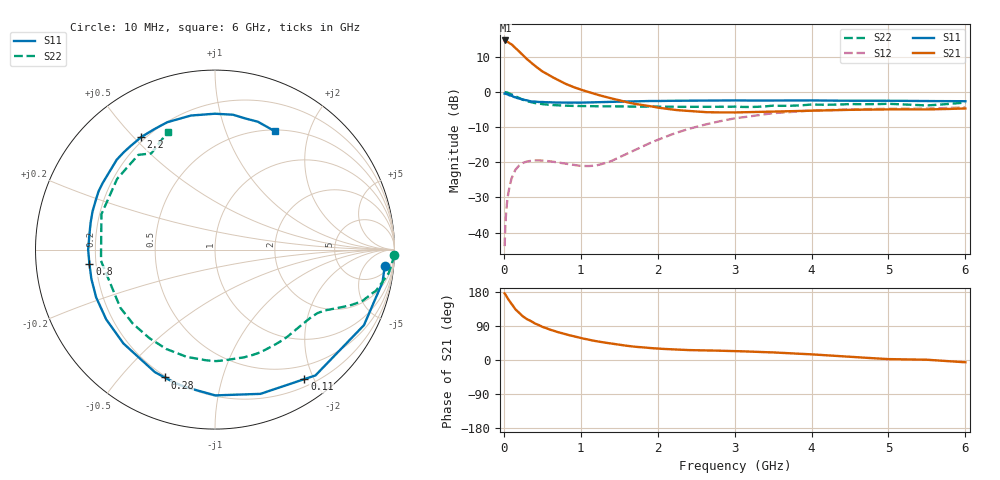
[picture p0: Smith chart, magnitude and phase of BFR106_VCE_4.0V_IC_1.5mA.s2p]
! Infineon Technologies  Discrete & RF Semiconductors
! BFR106
! VCE =  4.0 V,  IC =  1.5 mA
! Common Emitter S-Parameters:  Nov 2015
# GHz  S  MA  R  50
!  f  S11  S21  S12  S22
! GHz  MAG  ANG  MAG  ANG  MAG  ANG  MAG  ANG
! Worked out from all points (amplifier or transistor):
!   210 points, 10 MHz to 6 GHz, reference 50 ohm
!   highest |S21| = 14.7 dB at 20 MHz (marker M1)
!   |S21| within 3 dB of that: start of sweep to 192.2 MHz
!   unconditionally stable (mu >= 1): 809.4 MHz to 1.878 GHz; 3.193 GHz to end of sweep
!   at 185 MHz: K = 0.22, MSG = 16.5 dB, |S12| = -21.3 dB
!   at 1.52 GHz: K = 1.23, MAG = 5.1 dB, |S12| = -18.4 dB
!   at 6 GHz: K = 1.02, MAG = -1.0 dB, |S12| = -4.4 dB
!   S11 on the Smith chart (normalised r, x): 10 MHz: 8, -16; 110 MHz: 0.30, -1.87; 280 MHz: 0.19, -0.66; 800 MHz: 0.17, -0.05; 2.2 GHz: 0.18, +0.53; 6 GHz: 0.52, +1.50
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0.01  0.9501 -5.6  5.404 175.8  0.0064 90.8  0.9983 -1.6
0.02  0.951 -11.0  5.405 173.1  0.0129 84.7  0.9938 -3.2
0.05  0.9306 -26.9  5.171 162.4  0.032 75.1  0.9762 -7.8
0.1  0.8971 -51.4  4.781 147.8  0.0588 62.9  0.9268 -14.2
0.11  0.877 -55.4  4.652 145.3  0.0624 60.0  0.9148 -15.1
0.15  0.8427 -72.5  4.241 133.8  0.0781 51.3  0.8697 -19.2
0.2  0.8123 -89.9  3.76 123.9  0.0902 43.4  0.8183 -22.2
0.24  0.784 -101.7  3.407 116.6  0.0966 38.2  0.7815 -24.1
0.28  0.7656 -111.5  3.087 110.8  0.1008 34.3  0.7533 -25.7
0.4  0.7306 -134.3  2.367 96.8  0.1064 26.1  0.6967 -29.2
0.5  0.7202 -147.3  1.965 87.6  0.1058 22.9  0.6712 -31.9
0.6  0.7137 -158.1  1.696 80.1  0.1034 21.6  0.6556 -34.9
0.8  0.7042 -173.6  1.309 68.0  0.0955 23.7  0.6381 -41.7
1.02  0.7051 172.1  1.062 57.2  0.0886 33.7  0.6312 -49.8
1.4  0.7254 153.4  0.808 43.1  0.1043 59.8  0.6258 -65.9
2.02  0.7441 129.7  0.595 29.9  0.2125 71.6  0.6178 -95.6
2.2  0.75 123.3  0.558 27.8  0.2526 69.8  0.6181 -104.8
3.1  0.7566 98.2  0.514 22.9  0.435 49.2  0.6125 -153.7
3.5  0.7571 90.0  0.526 20.0  0.4997 39.4  0.6383 -174.4
4.1  0.7558 81.3  0.545 13.6  0.549 25.3  0.6591 159.0
5.1  0.7492 70.5  0.566 2.1  0.5771 7.9  0.6713 127.9
6  0.7385 63.2  0.583 -6.0  0.6041 -3.3  0.7061 111.9
